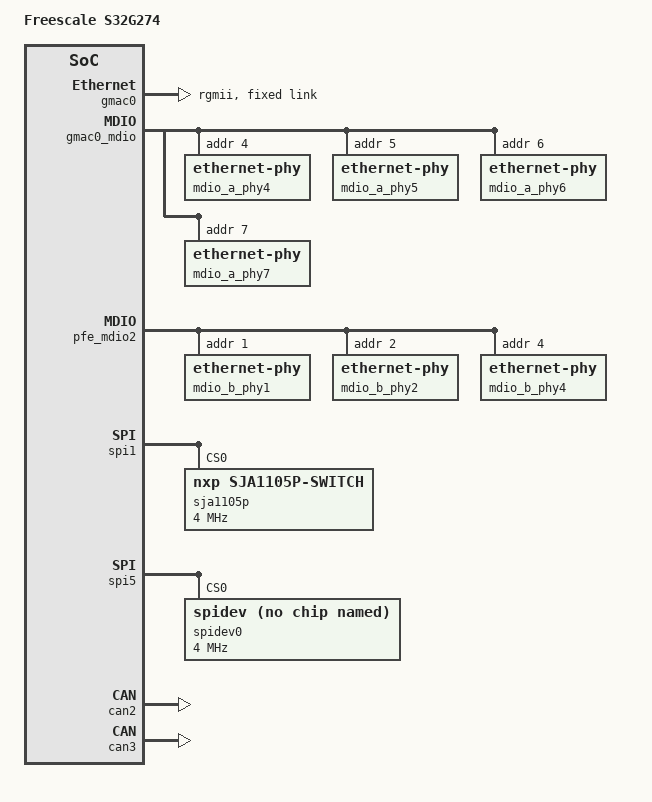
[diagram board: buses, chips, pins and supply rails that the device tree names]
// SPDX-License-Identifier: GPL-2.0-or-later
/*
 * Device Tree file for S32G274ARDB Board Rev B.
 *
 * Copyright 2020-2021 NXP
 *
 */

/dts-v1/;
#include "fsl-s32g274a-rdb.dtsi"
/ {
	model = "Freescale S32G274";
	compatible = "fsl,s32g274-simu", "fsl,s32g274",
				 "arm,vexpress,v2p-aarch64", "arm,vexpress";
};

&gmac0 {
	pinctrl-names = "default";
	pinctrl-0 = <&pinctrl0_gmac0_rgmii_a>;
	phy-mode = "rgmii";
	status = "okay";
	/* direct connect to SJA1105Q P0 */
	fixed-link {
		speed = <1000>;
		full-duplex;
	};
};

&gmac0_mdio {
	pinctrl-names = "default";
	pinctrl-0 = <&pinctrl0_gmac0_mdio_a>;
	/* TJA1102 over SJA1105Q P1 */
	mdio_a_phy4: ethernet-phy@4 {
		#address-cells = <1>;
		#size-cells = <0>;
		reg = <4>;
		max-speed = <100>;
	};
	/* TJA1102 over SJA1105Q P2 */
	mdio_a_phy5: ethernet-phy@5 {
		#address-cells = <1>;
		#size-cells = <0>;
		reg = <5>;
		max-speed = <100>;
	};
	/* TJA1102 over SJA1105Q P3 */
	mdio_a_phy6: ethernet-phy@6 {
		#address-cells = <1>;
		#size-cells = <0>;
		reg = <6>;
		max-speed = <100>;
	};
	/* TJA1102 over SJA1105Q P4 */
	mdio_a_phy7: ethernet-phy@7 {
		#address-cells = <1>;
		#size-cells = <0>;
		reg = <7>;
		max-speed = <100>;
	};
};

&pfe_mdio2 {
	pinctrl-names = "default";
	pinctrl-0 = <&pinctrl0_pfe2_mdio_b>;
	/* AR8035 */
	mdio_b_phy1: ethernet-phy@1 {
		#address-cells = <1>;
		#size-cells = <0>;
		reg = <1>;
	};
	/* AR8035 */
	mdio_b_phy2: ethernet-phy@2 {
		#address-cells = <1>;
		#size-cells = <0>;
		reg = <2>;
	};
	/* KSZ9031RNX */
	mdio_b_phy4: ethernet-phy@4 {
		#address-cells = <1>;
		#size-cells = <0>;
		reg = <4>;
	};

	/* SJA1110's phys: 0x09-0x0e */
};

&spi1 {
	#address-cells = <1>;
	#size-cells = <0>;

	sja1105p@0 {
		compatible = "nxp,sja1105p-switch";
		spi-max-frequency = <0x3D0900>;
		spi-cpha;
		fsl,spi-cs-sck-delay = <100>;
		fsl,spi-sck-cs-delay = <100>;

		reg = <0>;
		port-0 {
			is-host = <0x1>;
			null-phy = <0x1>;
			phy-ref = < 0 >;
			rx-delay = < 810 >;
			tx-delay = < 810 >;
		};
		port-1 {
			is-host = <0x0>;
			null-phy = <0x0>;
			phy-ref = <&mdio_a_phy4>;
		};
		port-2 {
			is-host = <0x0>;
			null-phy = <0x0>;
			phy-ref = <&mdio_a_phy5>;
		};
		port-3 {
			is-host = <0x0>;
			null-phy = <0x0>;
			phy-ref = <&mdio_a_phy6>;
		};
		port-4 {
			is-host = <0x0>;
			null-phy = <0x0>;
			phy-ref = <&mdio_a_phy7>;
		};
	};
};

&spi5 {
	spidev0: sja1110@0 {
		compatible = "rohm,dh2228fv";
		spi-max-frequency = <4000000>;
		reg = <0>;
	};
};

&can2 {
	pinctrl-names = "default";
	pinctrl-0 = <&pinctrl0_can2>, <&pinctrl1_can2>;
	status = "okay";
};

&can3 {
	pinctrl-names = "default";
	pinctrl-0 = <&pinctrl0_can3>, <&pinctrl1_can3>;
	status = "okay";
};
